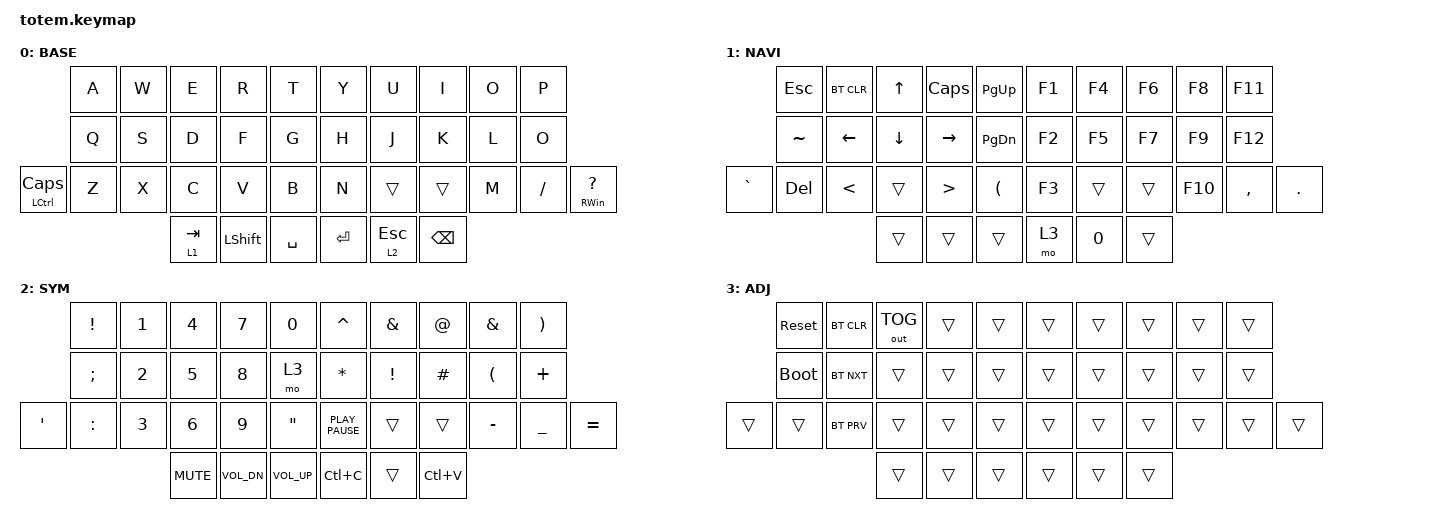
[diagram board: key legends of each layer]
//
//                                                        ▀▀▀▀▀     ▀▀▀▀▀          ▀▀█▀▀
//                                                        ▄▀▀▀▄  ▄  ▄▀▀▀▄  ▄  ▄▀▀▀▄  █  ▄▀▀▀▄
//                                                        █   █  █  █   █  █  █   █  █  █   █
//                                                         ▀▀▀   █   ▀▀▀   █   ▀▀▀   ▀   ▀▀▀
//                                                               █      ▄▄▄█▄▄▄    █   █  
//                                                               ▀      █  █  █     █▄█
//                                                             ▀▀▀▀▀    █  █  █      ▀
//                                                                      ▀  ▀  ▀
//
// ▄▄▄▄▄▄▄▄▄▄▄▄▄▄▄▄▄▄▄▄▄▄▄▄▄▄▄▄▄▄▄▄▄▄▄▄▄▄▄▄▄▄▄▄▄▄▄▄▄▄▄▄▄▄▄▄▄▄▄▄▄▄▄▄▄▄▄▄▄▄▄▄▄▄▄▄▄▄▄▄▄▄▄▄▄▄▄▄▄▄▄▄▄▄▄▄▄▄▄▄▄▄▄▄▄▄▄▄▄▄▄▄▄▄▄▄▄▄▄▄▄▄▄▄▄▄▄▄▄▄▄▄▄▄▄▄▄▄▄▄▄▄▄▄▄▄▄▄▄

#include <behaviors.dtsi>
#include <dt-bindings/zmk/bt.h>
#include <dt-bindings/zmk/keys.h>
#include <dt-bindings/zmk/outputs.h>

#define BASE 0
#define NAV  1
#define SYM  2
#define ADJ  3
#define TVP1 4
#define TVP2 5

&mt {
    quick-tap-ms = <100>;
    global-quick-tap;
    flavor = "tap-preferred";
    tapping-term-ms = <170>;
};

/ {
    combos {
        compatible = "zmk,combos";

        combo_esc {
            timeout-ms = <50>;
            key-positions = <0 1>;
            bindings = <&kp ESC>;
        };

        combo_tvp {
            timeout-ms = <100>;
            key-positions = <11 12 13>;
            bindings = <&tog 0>;
        };
    };

    macros {
        gif: gif {
            label = "giphy";
            compatible = "zmk,behavior-macro";
            #binding-cells = <0>;
            bindings =
                <&macro_press>,
                <&kp LSHFT>,
                <&macro_tap>,
                <&kp N2>,
                <&macro_release>,
                <&kp LSHFT>,
                <&macro_tap>,
                <&kp G &kp I &kp F>;
        };
    };

    keymap {
        compatible = "zmk,keymap";

        // ▄▄▄▄▄▄▄▄▄▄▄▄▄▄▄▄▄▄▄▄▄▄▄▄▄▄▄▄▄▄▄▄▄▄▄▄▄▄▄▄▄▄▄▄▄▄▄▄▄▄▄▄▄▄▄▄▄▄▄▄▄▄▄▄▄▄▄▄▄▄▄▄▄▄▄▄▄▄▄▄▄▄▄▄▄▄▄▄▄▄▄▄▄▄▄▄▄▄▄▄▄▄▄▄▄▄▄▄▄▄▄▄▄▄▄▄▄▄▄▄▄▄▄▄▄▄▄▄▄▄▄▄▄▄▄▄▄▄▄▄▄▄▄▄▄▄▄▄▄

        base_layer {
            // ┏━━━━━━━━━━━━━━━━━━━━━━━━━━━━━━━━━━━━━━━┓

            label = "BASE";

            // ┗━━━━━━━━━━━━━━━━━━━━━━━━━━━━━━━━━━━━━━━┛
            //             ┏━━━━━━━━━━━┳━━━━━━━━━━━┳━━━━━━━━━━━┳━━━━━━━━━━━┳━━━━━━━━━━━┓   ┏━━━━━━━━━━━┳━━━━━━━━━━━┳━━━━━━━━━━━┳━━━━━━━━━━━┳━━━━━━━━━━━┓
            //             ┃     Q     ┃     W     ┃     F     ┃     P     ┃     G     ┃   ┃     J     ┃     L     ┃     U     ┃     Y     ┃     ;     ┃
            //             ┣━━━━━━━━━━━╋━━━━━━━━━━━╋━━━━━━━━━━━╋━━━━━━━━━━━╋━━━━━━━━━━━┫   ┣━━━━━━━━━━━╋━━━━━━━━━━━╋━━━━━━━━━━━╋━━━━━━━━━━━╋━━━━━━━━━━━┫
            //             ┃     A     ┃     R     ┃     S     ┃     T     ┃     D     ┃   ┃     H     ┃     N     ┃     E     ┃     I     ┃     O     ┃
            // ┏━━━━━━━━━━━╋━━━━━━━━━━━╋━━━━━━━━━━━╋━━━━━━━━━━━╋━━━━━━━━━━━╋━━━━━━━━━━━┫   ┣━━━━━━━━━━━╋━━━━━━━━━━━╋━━━━━━━━━━━╋━━━━━━━━━━━╋━━━━━━━━━━━╋━━━━━━━━━━━┓
            // ┃     Q     ┃     Z     ┃     X     ┃     C     ┃     V     ┃     B     ┃   ┃     K     ┃     M     ┃     ,     ┃     .     ┃     /     ┃     \     ┃
            // ┗━━━━━━━━━━━┻━━━━━━━━━━━┻━━━━━━━━━━━╋━━━━━━━━━━━╋━━━━━━━━━━━╋━━━━━━━━━━━┫   ┣━━━━━━━━━━━╋━━━━━━━━━━━╋━━━━━━━━━━━╋━━━━━━━━━━━┻━━━━━━━━━━━┻━━━━━━━━━━━┛
            //                                     ┃    DEL    ┃    TAB    ┃    SPC    ┃   ┃   ENTER   ┃           ┃   BSPC    ┃
            //                                     ┗━━━━━━━━━━━┻━━━━━━━━━━━┻━━━━━━━━━━━┛   ┗━━━━━━━━━━━┻━━━━━━━━━━━┻━━━━━━━━━━━┛

            bindings = <
                       &kp A  &kp W  &kp E      &kp R           &kp T        &kp Y    &kp U      &kp I     &kp O  &kp P
                       &kp Q  &kp S  &kp D      &kp F           &kp G        &kp H    &kp J      &kp K     &kp L  &kp O
&mt LEFT_CONTROL CLCK  &kp Z  &kp X  &kp C      &kp V           &kp B        &kp N    &trans     &trans    &kp M  &kp FSLH  &mt RIGHT_WIN QUESTION
                                     &lt 1 TAB  &kp LEFT_SHIFT  &kp SPACE    &kp RET  &lt 2 ESC  &kp BSPC
            >;
        };

        // ▄▄▄▄▄▄▄▄▄▄▄▄▄▄▄▄▄▄▄▄▄▄▄▄▄▄▄▄▄▄▄▄▄▄▄▄▄▄▄▄▄▄▄▄▄▄▄▄▄▄▄▄▄▄▄▄▄▄▄▄▄▄▄▄▄▄▄▄▄▄▄▄▄▄▄▄▄▄▄▄▄▄▄▄▄▄▄▄▄▄▄▄▄▄▄▄▄▄▄▄▄▄▄▄▄▄▄▄▄▄▄▄▄▄▄▄▄▄▄▄▄▄▄▄▄▄▄▄▄▄▄▄▄▄▄▄▄▄▄▄▄▄▄▄▄▄▄▄▄

        f_layer {
            // ┏━━━━━━━━━━━━━━━━━━━━━━━━━━━━━━━━━━━━━━━┓

            label = "NAVI";

            // ┗━━━━━━━━━━━━━━━━━━━━━━━━━━━━━━━━━━━━━━━┛
            //             ┏━━━━━━━━━━━┳━━━━━━━━━━━┳━━━━━━━━━━━┳━━━━━━━━━━━┳━━━━━━━━━━━┓   ┏━━━━━━━━━━━┳━━━━━━━━━━━┳━━━━━━━━━━━┳━━━━━━━━━━━┳━━━━━━━━━━━┓
            //             ┃           ┃           ┃     UP    ┃           ┃     {     ┃   ┃     }     ┃     7     ┃     8     ┃     9     ┃     +     ┃
            //             ┣━━━━━━━━━━━╋━━━━━━━━━━━╋━━━━━━━━━━━╋━━━━━━━━━━━╋━━━━━━━━━━━┫   ┣━━━━━━━━━━━╋━━━━━━━━━━━╋━━━━━━━━━━━╋━━━━━━━━━━━╋━━━━━━━━━━━┫
            //             ┃   SHIFT   ┃   LEFT    ┃    DOWN   ┃   RIGHT   ┃     [     ┃   ┃     ]     ┃     4     ┃     5     ┃     6     ┃     -     ┃
            // ┏━━━━━━━━━━━╋━━━━━━━━━━━╋━━━━━━━━━━━╋━━━━━━━━━━━╋━━━━━━━━━━━╋━━━━━━━━━━━┫   ┣━━━━━━━━━━━╋━━━━━━━━━━━╋━━━━━━━━━━━╋━━━━━━━━━━━╋━━━━━━━━━━━╋━━━━━━━━━━━┓
            // ┃           ┃           ┃   P UP    ┃  C LOCK   ┃  P DOWN   ┃     (     ┃   ┃     )     ┃     1     ┃     2     ┃     3     ┃     *     ┃           ┃
            // ┗━━━━━━━━━━━┻━━━━━━━━━━━┻━━━━━━━━━━━╋━━━━━━━━━━━╋━━━━━━━━━━━╋━━━━━━━━━━━┫   ┣━━━━━━━━━━━╋━━━━━━━━━━━╋━━━━━━━━━━━╋━━━━━━━━━━━┻━━━━━━━━━━━┻━━━━━━━━━━━┛
            //                                     ┃           ┃    TAB    ┃    SPC    ┃   ┃    DEL    ┃     0     ┃           ┃
            //                                     ┗━━━━━━━━━━━┻━━━━━━━━━━━┻━━━━━━━━━━━┛   ┗━━━━━━━━━━━┻━━━━━━━━━━━┻━━━━━━━━━━━┛

            bindings = <
           &kp ESC    &bt BT_CLR     &kp UP    &kp CLCK          &kp PG_UP        &kp F1  &kp F4  &kp F6  &kp F8   &kp F11
           &kp TILDE  &kp LEFT       &kp DOWN  &kp RIGHT         &kp PAGE_DOWN    &kp F2  &kp F5  &kp F7  &kp F9   &kp F12
&kp GRAVE  &kp DEL    &kp LESS_THAN  &trans    &kp GREATER_THAN  &kp LPAR         &kp F3  &trans  &trans  &kp F10  &kp COMMA  &kp PERIOD
                                     &trans    &trans            &trans           &mo 3   &kp N0  &trans
            >;
        };

        // ▄▄▄▄▄▄▄▄▄▄▄▄▄▄▄▄▄▄▄▄▄▄▄▄▄▄▄▄▄▄▄▄▄▄▄▄▄▄▄▄▄▄▄▄▄▄▄▄▄▄▄▄▄▄▄▄▄▄▄▄▄▄▄▄▄▄▄▄▄▄▄▄▄▄▄▄▄▄▄▄▄▄▄▄▄▄▄▄▄▄▄▄▄▄▄▄▄▄▄▄▄▄▄▄▄▄▄▄▄▄▄▄▄▄▄▄▄▄▄▄▄▄▄▄▄▄▄▄▄▄▄▄▄▄▄▄▄▄▄▄▄▄▄▄▄▄▄▄▄

        num_layer {
            // ┏━━━━━━━━━━━━━━━━━━━━━━━━━━━━━━━━━━━━━━━┓

            label = "SYM";

            // ┗━━━━━━━━━━━━━━━━━━━━━━━━━━━━━━━━━━━━━━━┛
            //             ┏━━━━━━━━━━━┳━━━━━━━━━━━┳━━━━━━━━━━━┳━━━━━━━━━━━┳━━━━━━━━━━━┓   ┏━━━━━━━━━━━┳━━━━━━━━━━━┳━━━━━━━━━━━┳━━━━━━━━━━━┳━━━━━━━━━━━┓
            //             ┃     !     ┃     @     ┃     #     ┃     $     ┃     %     ┃   ┃     ˆ     ┃     &     ┃     Ü     ┃     '     ┃     "     ┃
            //             ┣━━━━━━━━━━━╋━━━━━━━━━━━╋━━━━━━━━━━━╋━━━━━━━━━━━╋━━━━━━━━━━━┫   ┣━━━━━━━━━━━╋━━━━━━━━━━━╋━━━━━━━━━━━╋━━━━━━━━━━━╋━━━━━━━━━━━┫
            //             ┃     Ä     ┃           ┃    SZ     ┃           ┃           ┃   ┃   MUTE    ┃   YEN     ┃   EURO    ┃  POUND    ┃     Ö     ┃
            // ┏━━━━━━━━━━━╋━━━━━━━━━━━╋━━━━━━━━━━━╋━━━━━━━━━━━╋━━━━━━━━━━━╋━━━━━━━━━━━┫   ┣━━━━━━━━━━━╋━━━━━━━━━━━╋━━━━━━━━━━━╋━━━━━━━━━━━╋━━━━━━━━━━━╋━━━━━━━━━━━┓
            // ┃           ┃  EMAIL1   ┃  EMAIL2   ┃           ┃           ┃           ┃   ┃   VOL-    ┃   VOL+    ┃   LAST    ┃   NEXT    ┃     \     ┃           ┃
            // ┗━━━━━━━━━━━┻━━━━━━━━━━━┻━━━━━━━━━━━╋━━━━━━━━━━━╋━━━━━━━━━━━╋━━━━━━━━━━━┫   ┣━━━━━━━━━━━╋━━━━━━━━━━━╋━━━━━━━━━━━╋━━━━━━━━━━━┻━━━━━━━━━━━┻━━━━━━━━━━━┛
            //                                     ┃           ┃    GIF    ┃    ADJ    ┃   ┃           ┃           ┃           ┃
            //                                     ┗━━━━━━━━━━━┻━━━━━━━━━━━┻━━━━━━━━━━━┛   ┗━━━━━━━━━━━┻━━━━━━━━━━━┻━━━━━━━━━━━┛

            bindings = <
         &kp EXCL       &kp NUMBER_1  &kp NUMBER_4  &kp NUMBER_7  &kp NUMBER_0         &kp CARET         &kp AMPS  &kp AT     &kp AMPERSAND         &kp RIGHT_PARENTHESIS
         &kp SEMICOLON  &kp NUMBER_2  &kp NUMBER_5  &kp NUMBER_8  &mo 3                &kp ASTRK         &kp EXCL  &kp POUND  &kp LEFT_PARENTHESIS  &kp PLUS
&kp SQT  &kp COLON      &kp NUMBER_3  &kp NUMBER_6  &kp NUMBER_9  &kp DOUBLE_QUOTES    &kp K_PLAY_PAUSE  &trans    &trans     &kp MINUS             &kp UNDER              &kp EQUAL
                                      &kp K_MUTE    &kp C_VOL_DN  &kp C_VOLUME_UP      &kp LC(C)         &trans    &kp LC(V)
            >;
        };

        // ▄▄▄▄▄▄▄▄▄▄▄▄▄▄▄▄▄▄▄▄▄▄▄▄▄▄▄▄▄▄▄▄▄▄▄▄▄▄▄▄▄▄▄▄▄▄▄▄▄▄▄▄▄▄▄▄▄▄▄▄▄▄▄▄▄▄▄▄▄▄▄▄▄▄▄▄▄▄▄▄▄▄▄▄▄▄▄▄▄▄▄▄▄▄▄▄▄▄▄▄▄▄▄▄▄▄▄▄▄▄▄▄▄▄▄▄▄▄▄▄▄▄▄▄▄▄▄▄▄▄▄▄▄▄▄▄▄▄▄▄▄▄▄▄▄▄▄▄▄

        config_layer {
            // ┏━━━━━━━━━━━━━━━━━━━━━━━━━━━━━━━━━━━━━━━┓

            label = "ADJ";

            // ┗━━━━━━━━━━━━━━━━━━━━━━━━━━━━━━━━━━━━━━━┛
            //             ┏━━━━━━━━━━━┳━━━━━━━━━━━┳━━━━━━━━━━━┳━━━━━━━━━━━┳━━━━━━━━━━━┓   ┏━━━━━━━━━━━┳━━━━━━━━━━━┳━━━━━━━━━━━┳━━━━━━━━━━━┳━━━━━━━━━━━┓
            //             ┃   RESET   ┃ BT CLEAR  ┃  OUT TOG  ┃           ┃           ┃   ┃           ┃    F7     ┃    F8     ┃    F9     ┃    F12    ┃
            //             ┣━━━━━━━━━━━╋━━━━━━━━━━━╋━━━━━━━━━━━╋━━━━━━━━━━━╋━━━━━━━━━━━┫   ┣━━━━━━━━━━━╋━━━━━━━━━━━╋━━━━━━━━━━━╋━━━━━━━━━━━╋━━━━━━━━━━━┫
            //             ┃ BOOTLOAD  ┃ BT NEXT   ┃           ┃           ┃           ┃   ┃           ┃    F4     ┃    F5     ┃    F6     ┃    F11    ┃
            // ┏━━━━━━━━━━━╋━━━━━━━━━━━╋━━━━━━━━━━━╋━━━━━━━━━━━╋━━━━━━━━━━━╋━━━━━━━━━━━┫   ┣━━━━━━━━━━━╋━━━━━━━━━━━╋━━━━━━━━━━━╋━━━━━━━━━━━╋━━━━━━━━━━━╋━━━━━━━━━━━┓
            // ┃           ┃           ┃ BT PREV   ┃           ┃           ┃           ┃   ┃           ┃    F1     ┃    F2     ┃    F3     ┃    F10    ┃           ┃
            // ┗━━━━━━━━━━━┻━━━━━━━━━━━┻━━━━━━━━━━━╋━━━━━━━━━━━╋━━━━━━━━━━━╋━━━━━━━━━━━┫   ┣━━━━━━━━━━━╋━━━━━━━━━━━╋━━━━━━━━━━━╋━━━━━━━━━━━┻━━━━━━━━━━━┻━━━━━━━━━━━┛
            //                                     ┃           ┃           ┃           ┃   ┃           ┃           ┃           ┃
            //                                     ┗━━━━━━━━━━━┻━━━━━━━━━━━┻━━━━━━━━━━━┛   ┗━━━━━━━━━━━┻━━━━━━━━━━━┻━━━━━━━━━━━┛

            bindings = <
        &sys_reset   &bt BT_CLR  &out OUT_TOG  &trans  &trans    &trans  &trans  &trans  &trans  &trans
        &bootloader  &bt BT_NXT  &trans        &trans  &trans    &trans  &trans  &trans  &trans  &trans
&trans  &trans       &bt BT_PRV  &trans        &trans  &trans    &trans  &trans  &trans  &trans  &trans  &trans
                                 &trans        &trans  &trans    &trans  &trans  &trans
            >;
        };

        // ▄▄▄▄▄▄▄▄▄▄▄▄▄▄▄▄▄▄▄▄▄▄▄▄▄▄▄▄▄▄▄▄▄▄▄▄▄▄▄▄▄▄▄▄▄▄▄▄▄▄▄▄▄▄▄▄▄▄▄▄▄▄▄▄▄▄▄▄▄▄▄▄▄▄▄▄▄▄▄▄▄▄▄▄▄▄▄▄▄▄▄▄▄▄▄▄▄▄▄▄▄▄▄▄▄▄▄▄▄▄▄▄▄▄▄▄▄▄▄▄▄▄▄▄▄▄▄▄▄▄▄▄▄▄▄▄▄▄▄▄▄▄▄▄▄▄▄▄▄
        // ▄▄▄▄▄▄▄▄▄▄▄▄▄▄▄▄▄▄▄▄▄▄▄▄▄▄▄▄▄▄▄▄▄▄▄▄▄▄▄▄▄▄▄▄▄▄▄▄▄▄▄▄▄▄▄▄▄▄▄▄▄▄▄▄▄▄▄▄▄▄▄▄▄▄▄▄▄▄▄▄▄▄▄▄▄▄▄▄▄▄▄▄▄▄▄▄▄▄▄▄▄▄▄▄▄▄▄▄▄▄▄▄▄▄▄▄▄▄▄▄▄▄▄▄▄▄▄▄▄▄▄▄▄▄▄▄▄▄▄▄▄▄▄▄▄▄▄▄▄
    };
};
